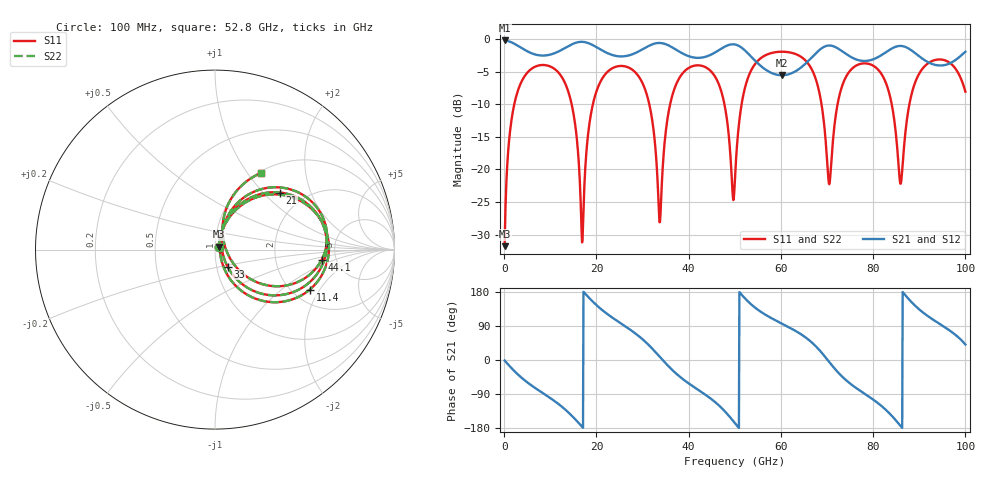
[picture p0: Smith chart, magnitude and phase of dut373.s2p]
! Touchstone file exported from HFSS 2026.1.0
!  File:  C:/ffzhzh/LocalFiles/Ansys_Project_Files/temp_train_TSV_RDL_373_1783713734_45496.aedt
!  Generated:  04:16:08 AM Jul 11, 2026
!  Design:  TSV_RDL
!  Project:  temp_train_TSV_RDL_373_1783713734_45496
! Variables:
!  h_bsmrdl = 2.92um
!  h_ox = 20um
!  h_rdl = 5um
!  h_sub = 99.19um
!  h_tmrdl = 3.78um
!  h_tsv = 99.19um
!  h_via = 3um
!  l_bsmrdl = 321.63um
!  l_sub = 3310.12um
!  l_tmrdl = 458.82um
!  m_sub = 200um
!  pitch = 57.27um
!  r_tsv = 5.01um
!  s_tmrdl = 10um
!  w_bsmrdl = 20.53um
!  w_sub = 500um
!  w_tmrdl = 16.12um
!  x_tsv_center1 = 466.88um
!  x_tsv_center2 = 809.04um
!  x_tsv_center3 = 1283.98um
!  x_tsv_center4 = 1626.14um
!  x_tsv_center5 = 2101.08um
!  x_tsv_center6 = 2443.24um
# GHz S MA R 50.000000
! Terminal data exported
! Port[1] = TM_RDL1_1_T1
! Port[2] = TM_RDL5_1_T1
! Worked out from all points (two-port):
!   1000 points, 100 MHz to 100 GHz, reference 50 ohm
!   highest |S21| = -0.17 dB at 100 MHz (marker M1); lowest = -5.5 dB at 60.2 GHz (marker M2)
!   |S21| within 3 dB of the highest: start of sweep to 54.26 GHz; 79.59 GHz to 91.11 GHz (11.52 GHz wide, 13.5 % of centre) (the widest 2 of 4)
!   lowest |S11| = -31.8 dB at 100 MHz (marker M3), VSWR 1.05, Z = 52 + j1.66 ohm
!   |S11| at or under -10 dB: 14.64 GHz to 19.23 GHz (4.591 GHz wide, 27.1 % of centre); 31.47 GHz to 35.98 GHz (4.505 GHz wide, 13.4 % of centre); 84.03 GHz to 87.85 GHz (3.819 GHz wide, 4.44 % of centre) (the widest 3 of 6)
!   |S22| runs from -31.8 to -1.9 dB; largest |S21 - S12| = 2.9e-14
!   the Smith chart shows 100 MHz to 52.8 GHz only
!   S11 on the Smith chart (normalised r, x): 100 MHz: 1.04, +0.03; 11.4 GHz: 2.47, -1.64; 21 GHz: 1.51, +1.25; 33 GHz: 1.13, -0.22; 44.1 GHz: 3.85, -0.66; 52.8 GHz: 1.02, +1.16
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0.1  0.02573 38.3  0.9801 -1.4  0.9801 -1.4  0.02573 38.3
! Gamma 0 0 0 0
! Port Impedance 50 0 50 0
3.1  0.4146 47.2  0.886 -39.5  0.886 -39.5  0.4146 47.2
11.4  0.5735 -22.8  0.7949 -112.6  0.7949 -112.6  0.5734 -22.8
14.9  0.2851 -56.4  0.9227 -149.9  0.9227 -149.9  0.2851 -56.4
16.8  0.03273 -29.3  0.9568 -174.7  0.9568 -174.7  0.03267 -29.3
21  0.4811 41.4  0.831 134.4  0.831 134.4  0.4812 41.4
29.2  0.5167 -25.6  0.8088 62.9  0.8088 62.9  0.5167 -25.7
33  0.1173 -53.4  0.9333 18.3  0.9333 18.3  0.1173 -53.6
33.4  0.06432 -40.9  0.9369 13.0  0.9369 13.0  0.06422 -41.1
37.2  0.4427 50.6  0.8352 -34.9  0.8352 -34.9  0.4426 50.7
44.1  0.5977 -5.3  0.7431 -95.7  0.7431 -95.7  0.5976 -5.3
50.1  0.09248 62.2  0.9117 -167.5  0.9117 -167.5  0.09284 62.0
52.8  0.4984 59.0  0.7837 155.3  0.7837 155.3  0.4985 59.0
60.2  0.8032 5.7  0.5296 96.1  0.5296 96.1  0.8032 5.7
66.7  0.5869 -38.6  0.7264 46.3  0.7264 46.3  0.5869 -38.7
70.5  0.07695 -2.5  0.8965 -5.6  0.8965 -5.6  0.07606 -2.5
74.8  0.5621 25.7  0.7448 -60.1  0.7448 -60.1  0.5621 25.8
83.4  0.3952 -41.1  0.8233 -139.1  0.8233 -139.1  0.3952 -41.1
86  0.0778 10.5  0.8896 -174.8  0.8896 -174.8  0.07713 10.5
89.9  0.5383 39.0  0.7446 134.5  0.7446 134.5  0.538 39.1
95  0.6976 0.3  0.6302 90.7  0.6302 90.7  0.6974 0.4
100  0.3962 -37.5  0.8024 40.9  0.8024 40.9  0.396 -37.3
